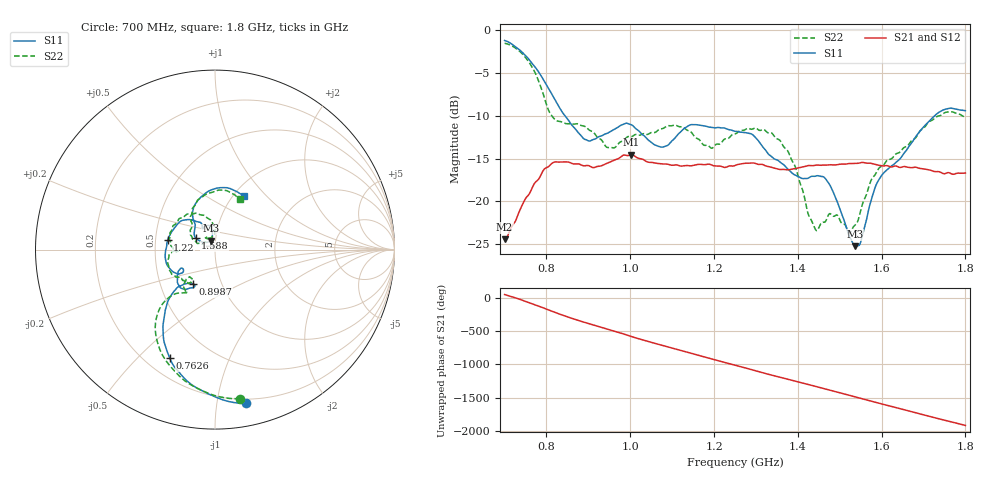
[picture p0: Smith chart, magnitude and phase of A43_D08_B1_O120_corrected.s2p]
! Created with skrf 1.9.0 (http://scikit-rf.org).
# Hz S RI R 50.0
!freq ReS11 ImS11 ReS21 ImS21 ReS12 ImS12 ReS22 ImS22
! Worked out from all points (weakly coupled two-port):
!   1601 points, 700 MHz to 1.8 GHz, reference 50 ohm
!   highest |S21| = -14.54 dB at 1.002 GHz (marker M1); lowest = -24.4 dB at 700 MHz (marker M2)
!   lowest |S11| = -25.2 dB at 1.537 GHz (marker M3), VSWR 1.12, Z = 47.4 + j4.68 ohm
!   |S11| at or under -10 dB: 844.6 MHz to 1.726 GHz (881.5 MHz wide, 68.6 % of centre)
!   |S22| runs from -23.7 to -1.5 dB; largest |S21 - S12| = 0.0036
!   S11 on the Smith chart (normalised r, x): 700 MHz: 0.17, -1.21; 762.6 MHz: 0.29, -0.63; 898.7 MHz: 0.73, -0.29; 1.22 GHz: 0.58, +0.07; 1.588 GHz: 0.80, +0.10; 1.8 GHz: 1.12, +0.75
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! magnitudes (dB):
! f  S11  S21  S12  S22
! 700 MHz  -1.2  -24.4  -24.2  -1.5
! 762.6 MHz  -3.7  -18.8  -18.7  -4.0
! 815.5 MHz  -7.7  -15.5  -15.5  -10.2
! 883.6 MHz  -12.4  -15.7  -15.6  -11.1
! 898.7 MHz  -12.9  -15.8  -15.8  -11.5
! 947.5 MHz  -12.0  -15.5  -15.5  -13.7
! 1.002 GHz  -11.0  -14.5  -14.6  -12.4
! 1.067 GHz  -13.6  -15.6  -15.5  -11.6
! 1.144 GHz  -11.0  -15.8  -15.8  -11.8
! 1.192 GHz  -11.3  -15.7  -15.7  -13.7
! 1.22 GHz  -11.4  -16.0  -16.0  -12.9
! 1.25 GHz  -11.8  -15.8  -15.7  -12.1
! 1.357 GHz  -15.4  -16.3  -16.2  -12.9
! 1.394 GHz  -16.9  -16.2  -16.1  -15.9
! 1.434 GHz  -17.1  -15.8  -15.8  -22.3
! 1.474 GHz  -17.9  -15.7  -15.7  -21.5
! 1.537 GHz  -25.2  -15.5  -15.6  -22.8
! 1.55 GHz  -24.7  -15.5  -15.5  -21.0
! 1.588 GHz  -18.0  -15.7  -15.7  -16.6
! 1.617 GHz  -16.1  -15.9  -15.8  -15.1
! 1.733 GHz  -9.7  -16.5  -16.5  -10.0
! 1.8 GHz  -9.4  -16.7  -16.7  -10.1
